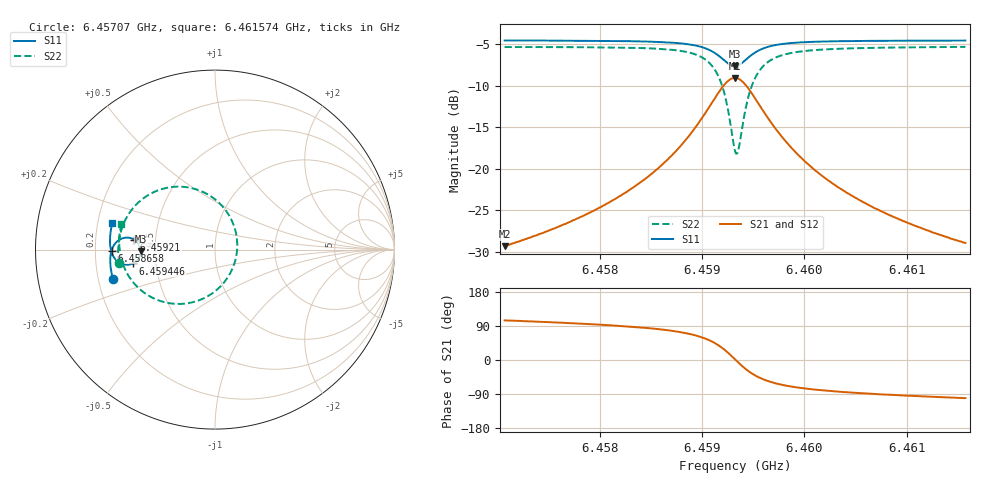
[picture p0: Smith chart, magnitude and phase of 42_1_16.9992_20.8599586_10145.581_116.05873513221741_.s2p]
#  HZ  S  RI  R  50.00
! Rohde & Schwarz Vector Network Analyzer
! Rohde-Schwarz,ZNB20-2Port,1311601062101988,3.16
! Created: UTC 3/20/2024, 10:53:56 PM
! freq[Hz]  re:S11  im:S11  re:S21  im:S21  re:S12  im:S12  re:S22  im:S22
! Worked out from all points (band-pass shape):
!   401 points, 6.45707 GHz to 6.461574 GHz, reference 50 ohm
!   highest |S21| = -9.06 dB at 6.459322 GHz (marker M1); lowest = -29.3 dB at 6.45707 GHz (marker M2)
!   |S21| within 3 dB of the highest: 6.459096 GHz to 6.459547 GHz (450.5 kHz wide, 0.00697 % of centre)
!   lowest |S11| = -7.7 dB at 6.459322 GHz (marker M3), VSWR 2.41, Z = 20.7 - j0.481 ohm
!   |S11| at or under -10 dB: nowhere
!   |S22| runs from -18.2 to -5.3 dB; largest |S21 - S12| = 0.014
!   S11 on the Smith chart (normalised r, x): 6.45707 GHz: 0.26, -0.13; 6.458658 GHz: 0.27, -0.00; 6.45921 GHz: 0.38, +0.05; 6.459446 GHz: 0.37, -0.07; 6.461574 GHz: 0.26, +0.12
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6.4570702e9  -0.568 -0.1664  -0.00857 0.0332  -0.00688 0.0331  -0.535 -0.0756
6.4578246e9  -0.5811 -0.0999  -0.00515 0.0515  -0.00264 0.051  -0.5387 0.014
6.4582412e9  -0.5836 -0.0578  0.00106 0.0713  0.00439 0.0699  -0.5296 0.0813
6.458579e9  -0.5795 -0.0168  0.0155 0.1007  0.0194 0.0979  -0.5027 0.1593
6.4586578e9  -0.5765 -0.00558  0.0222 0.1107  0.026 0.1074  -0.4904 0.1831
6.4588493e9  -0.5627 0.0252  0.0508 0.1429  0.0549 0.1376  -0.4362 0.2537
6.4589844e9  -0.5407 0.0495  0.0947 0.1714  0.098 0.1646  -0.3548 0.3134
6.4591195e9  -0.4956 0.0667  0.184 0.1874  0.1849 0.18  -0.1916 0.3505
6.4592096e9  -0.4501 0.0555  0.2756 0.1544  0.276 0.1488  -0.0222 0.2964
6.4592771e9  -0.4206 0.0223  0.3366 0.0803  0.339 0.0751  0.0935 0.1621
6.4593222e9  -0.414 -0.00962  0.3522 0.0108  0.3563 0.00365  0.1241 0.0318
6.459356e9  -0.4183 -0.0338  0.3457 -0.0427  0.3498 -0.052  0.1107 -0.0694
6.459401e9  -0.4345 -0.0604  0.3159 -0.1032  0.3181 -0.1155  0.0499 -0.1837
6.459446e9  -0.457 -0.0769  0.2726 -0.1444  0.2716 -0.158  -0.038 -0.2583
6.4595361e9  -0.5014 -0.0839  0.186 -0.1749  0.1796 -0.1868  -0.2102 -0.3028
6.4596037e9  -0.5259 -0.0765  0.137 -0.1725  0.1287 -0.1815  -0.3048 -0.2863
6.4596825e9  -0.5458 -0.0632  0.0969 -0.1601  0.0883 -0.1664  -0.3795 -0.2504
6.4598401e9  -0.5677 -0.0355  0.0515 -0.1312  0.0437 -0.1341  -0.4604 -0.1767
6.4600766e9  -0.5805 3.95e-05  0.0221 -0.0991  0.0163 -0.0997  -0.5082 -0.0931
6.4604257e9  -0.5853 0.042  0.00593 -0.071  0.00178 -0.0705  -0.5298 -0.0114
6.460831e9  -0.5834 0.083  -0.00169 -0.0529  -0.00448 -0.0519  -0.5335 0.0546
6.4615742e9  -0.5718 0.1492  -0.00658 -0.0353  -0.00841 -0.0343  -0.5222 0.1435
